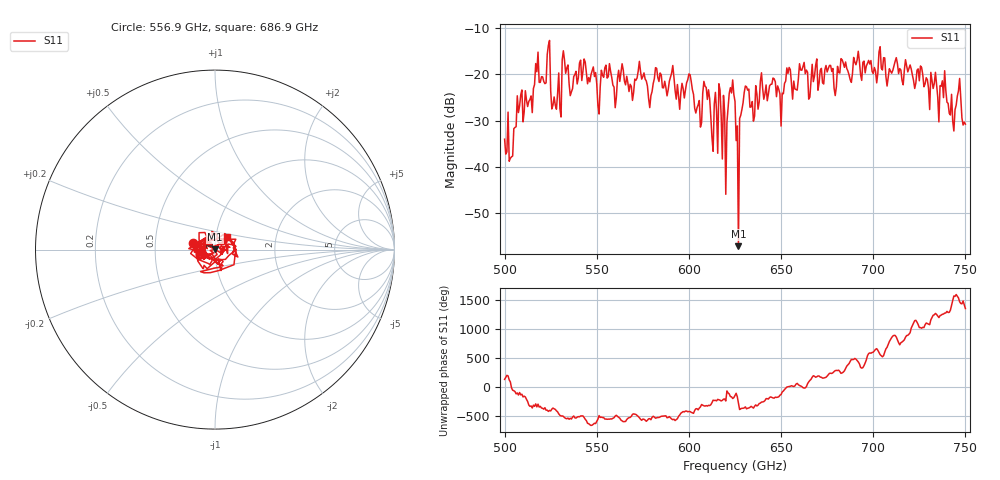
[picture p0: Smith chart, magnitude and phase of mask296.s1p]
!Created with skrf (http://scikit-rf.org).
# GHz S MA R 50.0
!freq magS11 angS11
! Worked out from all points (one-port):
!   401 points, 500 GHz to 750 GHz, reference 50 ohm
!   lowest |S11| = -57.1 dB at 626.9 GHz (marker M1), VSWR 1.00, Z = 50 + j0.139 ohm
!   |S11| at or under -10 dB: start of sweep to end of sweep
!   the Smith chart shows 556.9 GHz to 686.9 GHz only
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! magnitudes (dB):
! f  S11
! 500 GHz  -34.0
! 503.8 GHz  -37.8
! 508.1 GHz  -26.9
! 513.8 GHz  -25.5
! 516.9 GHz  -17.7
! 523.8 GHz  -13.8
! 526.9 GHz  -24.9
! 531.2 GHz  -16.9
! 562.5 GHz  -21.6
! 593.8 GHz  -22.2
! 600 GHz  -19.9
! 605.6 GHz  -25.7
! 609.4 GHz  -22.9
! 617.5 GHz  -29.0
! 619.4 GHz  -28.2
! 622.5 GHz  -22.9
! 625 GHz  -25.9
! 625.6 GHz  -34.3
! 626.9 GHz  -57.1
! 631.2 GHz  -22.7
! 634.4 GHz  -25.9
! 656.2 GHz  -25.4
! 687.5 GHz  -21.2
! 718.8 GHz  -19.5
! 738.1 GHz  -25.1
! 742.5 GHz  -24.3
! 746.2 GHz  -23.6
! 750 GHz  -30.8
